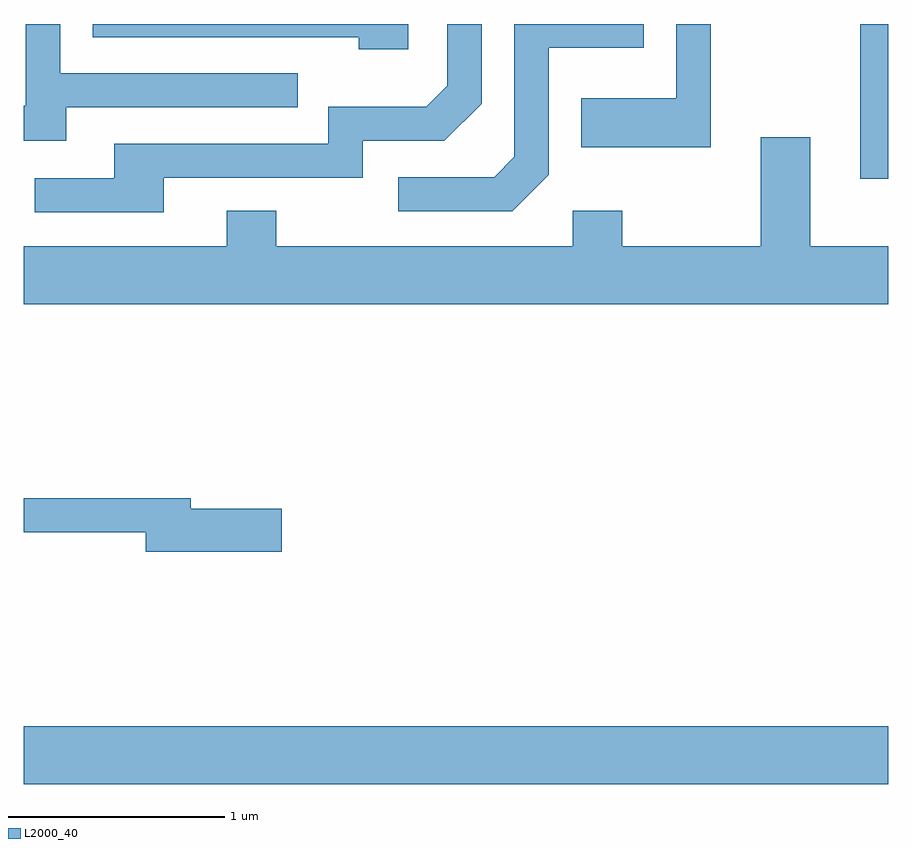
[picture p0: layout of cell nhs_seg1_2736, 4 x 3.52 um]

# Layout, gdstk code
import gdstk
lib = gdstk.Library(unit=1e-6, precision=1e-09)
def R(c, l, rs):  # rectangles x0, y0, x1, y1
    for r in rs: c.add(gdstk.rectangle(r[:2], r[2:], *l))
def P(c, l, *ps):  # polygons
    for p in ps: c.add(gdstk.Polygon(p, *l))
L2000_40 = (2000, 40)

nhs_seg1_2736 = lib.new_cell('nhs_seg1_2736')
R(nhs_seg1_2736, L2000_40, [(267.611,946.196,271.611,946.464), (271.481,948.996,271.611,949.712)])
P(nhs_seg1_2736, L2000_40, [(269.389,949.712),(267.931,949.712),(267.931,949.651),(269.161,949.651),(269.161,949.596),(269.389,949.596)],
  [(267.809,949.326),(268.878,949.326),(268.878,949.484),(267.779,949.484),(267.779,949.712),(267.621,949.712),(267.621,949.334),(267.611,949.334),(267.611,949.171),(267.809,949.171)],
  [(268.259,949.001),(269.179,949.001),(269.179,949.171),(269.557,949.171),(269.729,949.344),(269.729,949.712),(269.571,949.712),(269.571,949.427),(269.474,949.329),(269.021,949.329),(269.021,949.159),(268.031,949.159),(268.031,948.999),(267.663,948.999),(267.663,948.841),(268.259,948.841)],
  [(270.789,949.712),(270.631,949.712),(270.631,949.369),(270.191,949.369),(270.191,949.141),(270.789,949.141)],
  [(270.039,949.014),(270.039,949.601),(270.479,949.601),(270.479,949.712),(269.881,949.712),(269.881,949.097),(269.789,949.004),(269.343,949.004),(269.343,948.846),(269.872,948.846)],
  [(271.611,948.684),(271.249,948.684),(271.249,949.189),(271.021,949.189),(271.021,948.684),(270.379,948.684),(270.379,948.849),(270.151,948.849),(270.151,948.684),(268.779,948.684),(268.779,948.849),(268.551,948.849),(268.551,948.684),(267.611,948.684),(267.611,948.416),(271.611,948.416)],
  [(268.804,947.469),(268.384,947.469),(268.384,947.519),(267.611,947.519),(267.611,947.361),(268.176,947.361),(268.176,947.271),(268.804,947.271)])

lib.write_gds('nhs_seg1_2736.gds')
